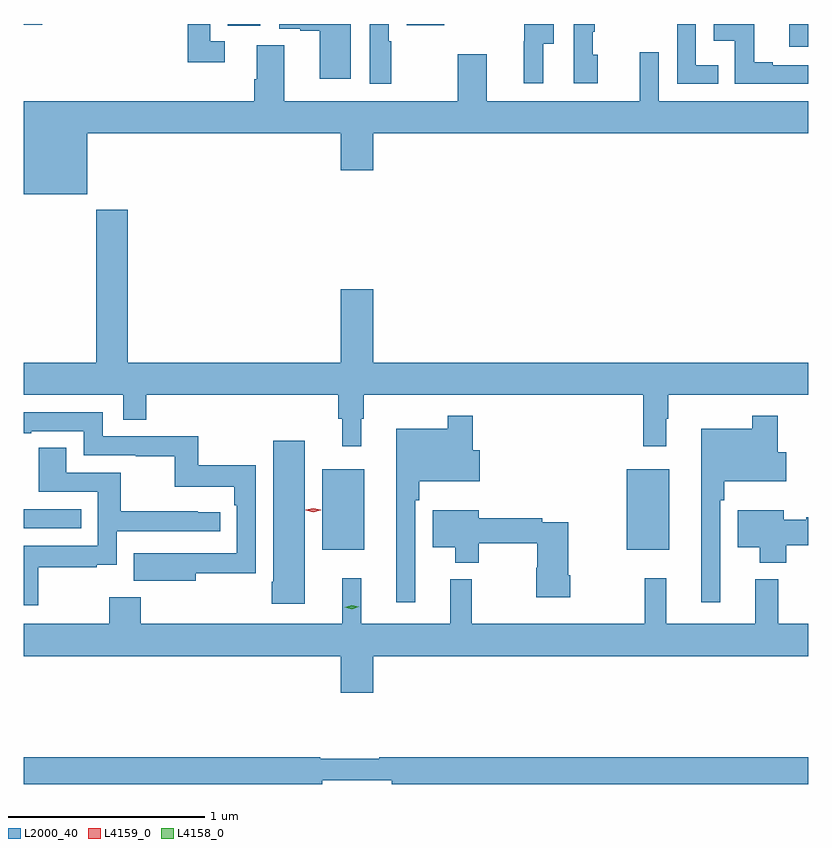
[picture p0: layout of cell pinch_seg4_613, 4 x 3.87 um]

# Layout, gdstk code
import gdstk
lib = gdstk.Library(unit=1e-6, precision=1e-09)
def R(c, l, rs):  # rectangles x0, y0, x1, y1
    for r in rs: c.add(gdstk.rectangle(r[:2], r[2:], *l))
def P(c, l, *ps):  # polygons
    for p in ps: c.add(gdstk.Polygon(p, *l))
L2000_40 = (2000, 40)
L4158_0 = (4158, 0)
L4159_0 = (4159, 0)

pinch_seg4_613 = lib.new_cell('pinch_seg4_613')
R(pinch_seg4_613, L2000_40, [(1028.048,766.727,1028.263,767.137), (1029.602,766.727,1029.817,767.137), (1026.527,766.836,1026.821,766.932), (1030.429,769.29,1030.527,769.406), (1027.568,769.398,1027.732,769.406), (1028.48,769.399,1028.671,769.406), (1026.527,769.401,1026.623,769.406)])
P(pinch_seg4_613, L2000_40, [(1030.527,769.197),(1030.345,769.197),(1030.345,769.21),(1030.25,769.21),(1030.25,769.406),(1030.044,769.406),(1030.044,769.32),(1030.152,769.32),(1030.152,769.101),(1030.527,769.101)],
  [(1029.454,769.248),(1029.429,769.248),(1029.429,769.367),(1029.439,769.367),(1029.439,769.406),(1029.33,769.406),(1029.33,769.104),(1029.454,769.104)],
  [(1029.175,769.306),(1029.229,769.306),(1029.229,769.406),(1029.078,769.406),(1029.078,769.317),(1029.077,769.317),(1029.077,769.104),(1029.175,769.104)],
  [(1027.552,769.317),(1027.479,769.317),(1027.479,769.406),(1027.363,769.406),(1027.363,769.212),(1027.552,769.212)],
  [(1030.067,769.197),(1029.954,769.197),(1029.954,769.406),(1029.858,769.406),(1029.858,769.101),(1030.067,769.101)],
  [(1028.401,769.319),(1028.388,769.319),(1028.388,769.406),(1028.292,769.406),(1028.292,769.101),(1028.401,769.101)],
  [(1028.194,769.406),(1027.83,769.406),(1027.83,769.383),(1027.937,769.383),(1027.937,769.371),(1028.036,769.371),(1028.036,769.128),(1028.194,769.128)],
  [(1026.85,768.848),(1028.144,768.848),(1028.144,768.66),(1028.308,768.66),(1028.308,768.848),(1030.527,768.848),(1030.527,769.012),(1029.765,769.012),(1029.765,769.261),(1029.668,769.261),(1029.668,769.012),(1028.887,769.012),(1028.887,769.252),(1028.74,769.252),(1028.74,769.012),(1027.855,769.012),(1027.855,769.298),(1027.715,769.298),(1027.715,769.124),(1027.703,769.124),(1027.703,769.012),(1026.527,769.012),(1026.527,768.539),(1026.85,768.539)],
  [(1028.248,767.393),(1028.26,767.393),(1028.26,767.516),(1029.685,767.516),(1029.685,767.253),(1029.802,767.253),(1029.802,767.393),(1029.814,767.393),(1029.814,767.516),(1030.527,767.516),(1030.527,767.68),(1028.308,767.68),(1028.308,768.055),(1028.144,768.055),(1028.144,767.68),(1027.058,767.68),(1027.058,768.46),(1026.898,768.46),(1026.898,767.68),(1026.527,767.68),(1026.527,767.516),(1027.035,767.516),(1027.035,767.389),(1027.151,767.389),(1027.151,767.516),(1028.131,767.516),(1028.131,767.393),(1028.15,767.393),(1028.15,767.253),(1028.248,767.253)],
  [(1027.405,766.606),(1027.71,766.606),(1027.71,767.158),(1027.417,767.158),(1027.417,767.304),(1026.93,767.304),(1026.93,767.427),(1026.527,767.427),(1026.527,767.319),(1026.565,767.319),(1026.565,767.331),(1026.834,767.331),(1026.834,767.208),(1027.099,767.208),(1027.099,767.203),(1027.296,767.203),(1027.296,767.048),(1027.601,767.048),(1027.601,766.952),(1027.614,766.952),(1027.614,766.707),(1027.301,766.707),(1027.301,766.708),(1027.087,766.708),(1027.087,766.568),(1027.405,766.568)],
  [(1028.523,766.979),(1028.543,766.979),(1028.543,767.075),(1028.851,767.075),(1028.851,767.233),(1028.816,767.233),(1028.816,767.41),(1028.688,767.41),(1028.688,767.344),(1028.426,767.344),(1028.426,766.458),(1028.523,766.458)],
  [(1030.077,766.979),(1030.097,766.979),(1030.097,767.075),(1030.414,767.075),(1030.414,767.223),(1030.37,767.223),(1030.37,767.41),(1030.242,767.41),(1030.242,767.344),(1029.98,767.344),(1029.98,766.458),(1030.077,766.458)],
  [(1027.96,767.281),(1027.799,767.281),(1027.799,766.564),(1027.792,766.564),(1027.792,766.452),(1027.96,766.452)],
  [(1026.601,766.638),(1026.899,766.638),(1026.899,766.649),(1027.002,766.649),(1027.002,766.821),(1027.528,766.821),(1027.528,766.917),(1027.415,766.917),(1027.415,766.922),(1027.022,766.922),(1027.022,767.118),(1026.745,767.118),(1026.745,767.246),(1026.605,767.246),(1026.605,767.022),(1026.906,767.022),(1026.906,766.746),(1026.527,766.746),(1026.527,766.443),(1026.601,766.443)],
  [(1029.312,766.597),(1029.304,766.597),(1029.304,766.866),(1029.17,766.866),(1029.17,766.886),(1028.848,766.886),(1028.848,766.927),(1028.612,766.927),(1028.612,766.739),(1028.726,766.739),(1028.726,766.661),(1028.848,766.661),(1028.848,766.758),(1029.146,766.758),(1029.146,766.635),(1029.139,766.635),(1029.139,766.485),(1029.312,766.485)],
  [(1030.415,766.75),(1030.527,766.75),(1030.527,766.892),(1030.515,766.892),(1030.515,766.879),(1030.402,766.879),(1030.402,766.927),(1030.166,766.927),(1030.166,766.739),(1030.28,766.739),(1030.28,766.661),(1030.415,766.661)],
  [(1028.308,766.184),(1030.527,766.184),(1030.527,766.348),(1030.373,766.348),(1030.373,766.576),(1030.256,766.576),(1030.256,766.348),(1029.803,766.348),(1029.803,766.582),(1029.693,766.582),(1029.693,766.348),(1028.812,766.348),(1028.812,766.576),(1028.702,766.576),(1028.702,766.348),(1028.249,766.348),(1028.249,766.582),(1028.15,766.582),(1028.15,766.348),(1027.124,766.348),(1027.124,766.483),(1026.964,766.483),(1026.964,766.348),(1026.527,766.348),(1026.527,766.184),(1028.144,766.184),(1028.144,765.996),(1028.308,765.996)],
  [(1028.048,765.551),(1028.404,765.551),(1028.404,765.532),(1030.527,765.532),(1030.527,765.668),(1028.339,765.668),(1028.339,765.661),(1028.039,765.661),(1028.039,765.668),(1026.527,765.668),(1026.527,765.532),(1028.048,765.532)])
P(pinch_seg4_613, L4158_0, [(1028.199,766.424),(1028.164,766.433),(1028.163,766.433),(1028.164,766.433),(1028.199,766.444),(1028.235,766.435),(1028.235,766.435),(1028.235,766.435)])
P(pinch_seg4_613, L4159_0, [(1028.003,766.918),(1027.965,766.928),(1027.964,766.928),(1027.965,766.929),(1028.003,766.938),(1028.041,766.929),(1028.041,766.928),(1028.041,766.928)])

lib.write_gds('pinch_seg4_613.gds')
